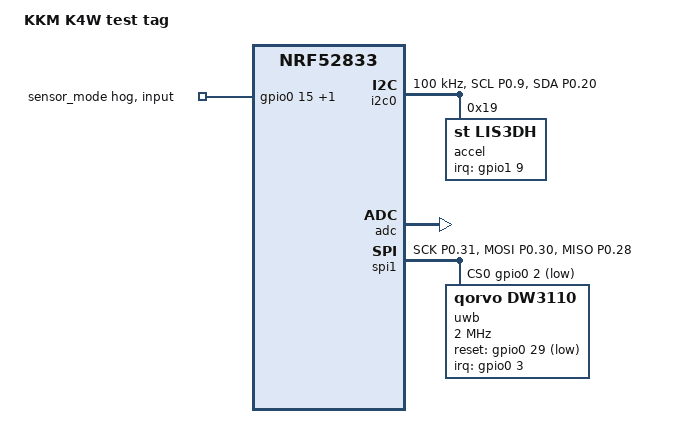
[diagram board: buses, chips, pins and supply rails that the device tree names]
/dts-v1/;
#include <nordic/nrf52833_qdaa.dtsi>
#include <zephyr/dt-bindings/gpio/gpio.h>
#include <zephyr/dt-bindings/pinctrl/nrf-pinctrl.h>

/ {
	model = "KKM K4W test tag";
	compatible = "kkm,k4w";
	chosen {
		zephyr,sram = &sram0;
		zephyr,flash = &flash0;
	};
};

&gpio0 {
	status = "okay";
	/* Keep LIS3DH in I2C mode, address 0x19, without driving a strap. */
	sensor_mode {
		gpio-hog;
		gpios = <15 GPIO_PULL_UP>, <17 GPIO_PULL_UP>;
		input;
	};
};
&gpio1 { status = "okay"; };
&gpiote { status = "okay"; };

&pinctrl {
	sensor_i2c: sensor_i2c {
		group1 {
			psels = <NRF_PSEL(TWIM_SCL, 0, 9)>, <NRF_PSEL(TWIM_SDA, 0, 20)>;
			bias-pull-up;
		};
	};
	sensor_i2c_sleep: sensor_i2c_sleep {
		group1 {
			psels = <NRF_PSEL(TWIM_SCL, 0, 9)>, <NRF_PSEL(TWIM_SDA, 0, 20)>;
			low-power-enable;
			bias-pull-up;
		};
	};
	uwb_sleep: uwb_sleep {
		group1 {
			psels = <NRF_PSEL(SPIM_SCK, 0, 31)>,
				<NRF_PSEL(SPIM_MOSI, 0, 30)>, <NRF_PSEL(SPIM_MISO, 0, 28)>;
			low-power-enable;
		};
	};
	uwb_default: uwb_default {
		group1 {
			psels = <NRF_PSEL(SPIM_SCK, 0, 31)>,
				<NRF_PSEL(SPIM_MOSI, 0, 30)>,
				<NRF_PSEL(SPIM_MISO, 0, 28)>;
		};
	};
};

&i2c0 {
	compatible = "nordic,nrf-twim";
	status = "okay";
	clock-frequency = <100000>;
	pinctrl-0 = <&sensor_i2c>;
	pinctrl-1 = <&sensor_i2c_sleep>;
	pinctrl-names = "default", "sleep";
	zephyr,pm-device-runtime-auto;
	accel: accelerometer@19 {
		compatible = "st,lis3dh", "st,lis2dh";
		reg = <0x19>;
		irq-gpios = <&gpio1 9 GPIO_ACTIVE_HIGH>;
		anym-on-int1;
		int2-gpio-config = <1>; /* any-motion handler uses this even on INT1 */
	};
};

&adc { status = "okay"; };

&spi1 {
	compatible = "nordic,nrf-spim";
	status = "okay";
	pinctrl-0 = <&uwb_default>;
	pinctrl-1 = <&uwb_sleep>;
	pinctrl-names = "default", "sleep";
	zephyr,pm-device-runtime-auto;
	cs-gpios = <&gpio0 2 GPIO_ACTIVE_LOW>;
	uwb: uwb@0 {
		compatible = "qorvo,dw3110";
		reg = <0>;
		spi-max-frequency = <2000000>;
		reset-gpios = <&gpio0 29 GPIO_ACTIVE_LOW>;
		irq-gpios = <&gpio0 3 GPIO_ACTIVE_HIGH>;
	};
};
